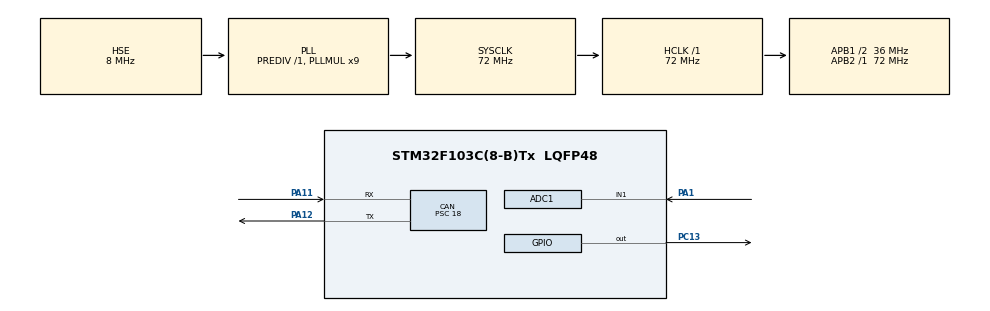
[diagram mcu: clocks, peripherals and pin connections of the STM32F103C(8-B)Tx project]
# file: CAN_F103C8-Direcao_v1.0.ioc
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ADC1.Channel-0\#ChannelRegularConversion=ADC_CHANNEL_1
ADC1.NbrOfConversionFlag=1
ADC1.Rank-0\#ChannelRegularConversion=1
ADC1.SamplingTime-0\#ChannelRegularConversion=ADC_SAMPLETIME_1CYCLE_5
ADC1.master=1
CAN.BS1=CAN_BS1_13TQ
CAN.BS2=CAN_BS2_2TQ
CAN.CalculateTimeBit=8000
CAN.CalculateTimeQuantum=500.0
CAN.NART=ENABLE
CAN.Prescaler=18
Mcu.Family=STM32F1
Mcu.Name=STM32F103C(8-B)Tx
Mcu.Package=LQFP48
NVIC.PriorityGroup=NVIC_PRIORITYGROUP_0
NVIC.USB_LP_CAN1_RX0_IRQn=true\:0\:2\:false\:false\:true\:true\:true\:true
PA1.Signal=ADCx_IN1
PA11.Mode=Master
PA11.Signal=CAN_RX
PA12.Mode=Master
PA12.Signal=CAN_TX
PA13.Mode=Serial_Wire
PA13.Signal=SYS_JTMS-SWDIO
PA14.Mode=Serial_Wire
PA14.Signal=SYS_JTCK-SWCLK
PC13-TAMPER-RTC.Signal=GPIO_Output
PD0-OSC_IN.Mode=HSE-External-Oscillator
PD0-OSC_IN.Signal=RCC_OSC_IN
PD1-OSC_OUT.Mode=HSE-External-Oscillator
PD1-OSC_OUT.Signal=RCC_OSC_OUT
ProjectManager.HeapSize=0x200
ProjectManager.StackSize=0x400
ProjectManager.TargetToolchain=STM32CubeIDE
RCC.ADCPresc=RCC_ADCPCLK2_DIV6
RCC.AHBFreq_Value=72000000
RCC.APB1CLKDivider=RCC_HCLK_DIV2
RCC.APB1Freq_Value=36000000
RCC.APB1TimFreq_Value=72000000
RCC.APB2Freq_Value=72000000
RCC.APB2TimFreq_Value=72000000
RCC.HCLKFreq_Value=72000000
RCC.PLLMUL=RCC_PLL_MUL9
RCC.PLLSourceVirtual=RCC_PLLSOURCE_HSE
RCC.SYSCLKFreq_VALUE=72000000
RCC.SYSCLKSource=RCC_SYSCLKSOURCE_PLLCLK
RCC.USBFreq_Value=72000000
SH.ADCx_IN1.0=ADC1_IN1,IN1
board=custom

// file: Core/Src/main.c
/* USER CODE BEGIN Header */
/**
  ******************************************************************************
  * @file           : main.c
  * @brief          : Main program body
  ******************************************************************************
  * @attention
  *
  * <h2><center>&copy; Copyright (c) 2020 STMicroelectronics.
  * All rights reserved.</center></h2>
  *
  * This software component is licensed by ST under BSD 3-Clause license,
  * the "License"; You may not use this file except in compliance with the
  * License. You may obtain a copy of the License at:
  *                        opensource.org/licenses/BSD-3-Clause
  *
  ******************************************************************************
  */
/* USER CODE END Header */

#include "main.h"

ADC_HandleTypeDef hadc1;

CAN_HandleTypeDef hcan;

/* USER CODE BEGIN PV */
CAN_TxHeaderTypeDef pTxHeader;
uint32_t pTxMailbox;
uint32_t adcResult;
uint8_t txData[8];
uint8_t rxData[8];
uint16_t adcRxData;
CAN_RxHeaderTypeDef pRxHeader;
CAN_FilterTypeDef sFilterConfig;
/* USER CODE END PV */

void SystemClock_Config(void);
static void MX_GPIO_Init(void);
static void MX_CAN_Init(void);
static void MX_ADC1_Init(void);

int main(void)
{

  /* MCU Configuration--------------------------------------------------------*/

  /* Reset of all peripherals, Initializes the Flash interface and the Systick. */
  HAL_Init();

  /* Configure the system clock */
  SystemClock_Config();

  /* Initialize all configured peripherals */
  MX_GPIO_Init();
  MX_CAN_Init();
  MX_ADC1_Init();

  /* Infinite loop */
  while (1)
  {

    /* USER CODE BEGIN 3 */
	  HAL_ADC_Start(&hadc1);
	  HAL_ADC_PollForConversion(&hadc1, 100);
	  adcResult = HAL_ADC_GetValue(&hadc1);
	  HAL_ADC_Stop(&hadc1);

	  if(HAL_CAN_GetTxMailboxesFreeLevel(&hcan) == 0)
	  {
		  HAL_CAN_AbortTxRequest(&hcan, pTxMailbox);
	  }
	  txData[0] = (uint8_t)(adcResult >> 8);
	  txData[1] = (uint8_t)(adcResult & 0xFF);
	  HAL_CAN_AddTxMessage(&hcan, &pTxHeader, txData, &pTxMailbox);
	  HAL_Delay(50);
  }
  /* USER CODE END 3 */
}

void SystemClock_Config(void)
{
  RCC_OscInitTypeDef RCC_OscInitStruct = {0};
  RCC_ClkInitTypeDef RCC_ClkInitStruct = {0};
  RCC_PeriphCLKInitTypeDef PeriphClkInit = {0};

  /** Initializes the CPU, AHB and APB busses clocks
  */
  RCC_OscInitStruct.OscillatorType = RCC_OSCILLATORTYPE_HSE;
  RCC_OscInitStruct.HSEState = RCC_HSE_ON;
  RCC_OscInitStruct.HSEPredivValue = RCC_HSE_PREDIV_DIV1;
  RCC_OscInitStruct.HSIState = RCC_HSI_ON;
  RCC_OscInitStruct.PLL.PLLState = RCC_PLL_ON;
  RCC_OscInitStruct.PLL.PLLSource = RCC_PLLSOURCE_HSE;
  RCC_OscInitStruct.PLL.PLLMUL = RCC_PLL_MUL9;
  if (HAL_RCC_OscConfig(&RCC_OscInitStruct) != HAL_OK)
  {
    Error_Handler();
  }
  /** Initializes the CPU, AHB and APB busses clocks
  */
  RCC_ClkInitStruct.ClockType = RCC_CLOCKTYPE_HCLK|RCC_CLOCKTYPE_SYSCLK
                              |RCC_CLOCKTYPE_PCLK1|RCC_CLOCKTYPE_PCLK2;
  RCC_ClkInitStruct.SYSCLKSource = RCC_SYSCLKSOURCE_PLLCLK;
  RCC_ClkInitStruct.AHBCLKDivider = RCC_SYSCLK_DIV1;
  RCC_ClkInitStruct.APB1CLKDivider = RCC_HCLK_DIV2;
  RCC_ClkInitStruct.APB2CLKDivider = RCC_HCLK_DIV1;

  if (HAL_RCC_ClockConfig(&RCC_ClkInitStruct, FLASH_LATENCY_2) != HAL_OK)
  {
    Error_Handler();
  }
  PeriphClkInit.PeriphClockSelection = RCC_PERIPHCLK_ADC;
  PeriphClkInit.AdcClockSelection = RCC_ADCPCLK2_DIV6;
  if (HAL_RCCEx_PeriphCLKConfig(&PeriphClkInit) != HAL_OK)
  {
    Error_Handler();
  }
}

static void MX_ADC1_Init(void)
{

  ADC_ChannelConfTypeDef sConfig = {0};

  /** Common config
  */
  hadc1.Instance = ADC1;
  hadc1.Init.ScanConvMode = ADC_SCAN_DISABLE;
  hadc1.Init.ContinuousConvMode = DISABLE;
  hadc1.Init.DiscontinuousConvMode = DISABLE;
  hadc1.Init.ExternalTrigConv = ADC_SOFTWARE_START;
  hadc1.Init.DataAlign = ADC_DATAALIGN_RIGHT;
  hadc1.Init.NbrOfConversion = 1;
  if (HAL_ADC_Init(&hadc1) != HAL_OK)
  {
    Error_Handler();
  }
  /** Configure Regular Channel
  */
  sConfig.Channel = ADC_CHANNEL_1;
  sConfig.Rank = ADC_REGULAR_RANK_1;
  sConfig.SamplingTime = ADC_SAMPLETIME_1CYCLE_5;
  if (HAL_ADC_ConfigChannel(&hadc1, &sConfig) != HAL_OK)
  {
    Error_Handler();
  }

}

static void MX_CAN_Init(void)
{

  hcan.Instance = CAN1;
  hcan.Init.Prescaler = 18;
  hcan.Init.Mode = CAN_MODE_NORMAL;
  hcan.Init.SyncJumpWidth = CAN_SJW_1TQ;
  hcan.Init.TimeSeg1 = CAN_BS1_13TQ;
  hcan.Init.TimeSeg2 = CAN_BS2_2TQ;
  hcan.Init.TimeTriggeredMode = DISABLE;
  hcan.Init.AutoBusOff = DISABLE;
  hcan.Init.AutoWakeUp = DISABLE;
  hcan.Init.AutoRetransmission = ENABLE;
  hcan.Init.ReceiveFifoLocked = DISABLE;
  hcan.Init.TransmitFifoPriority = DISABLE;
  if (HAL_CAN_Init(&hcan) != HAL_OK)
  {
    Error_Handler();
  }
  /* USER CODE BEGIN CAN_Init 2 */

	pTxHeader.DLC = 2;
	pTxHeader.IDE = CAN_ID_STD;
	pTxHeader.RTR = CAN_RTR_DATA;
	pTxHeader.StdId = 0x244;

	sFilterConfig.FilterFIFOAssignment = CAN_FILTER_FIFO0;
	sFilterConfig.FilterIdHigh = 0x245 << 5;
	sFilterConfig.FilterIdLow = 0;
	sFilterConfig.FilterMaskIdHigh = 0;
	sFilterConfig.FilterMaskIdLow =0;
	sFilterConfig.FilterScale = CAN_FILTERSCALE_32BIT;
	sFilterConfig.FilterActivation = ENABLE;

	HAL_CAN_ConfigFilter(&hcan, &sFilterConfig);

	if (HAL_CAN_Start(&hcan) != HAL_OK)
	{
		/* Start Error */
		Error_Handler();
	}
	HAL_CAN_ActivateNotification(&hcan,CAN_IT_RX_FIFO0_MSG_PENDING);

  /* USER CODE END CAN_Init 2 */

}

static void MX_GPIO_Init(void)
{
  GPIO_InitTypeDef GPIO_InitStruct = {0};

  /* GPIO Ports Clock Enable */
  __HAL_RCC_GPIOC_CLK_ENABLE();
  __HAL_RCC_GPIOD_CLK_ENABLE();
  __HAL_RCC_GPIOA_CLK_ENABLE();

  /*Configure GPIO pin Output Level */
  HAL_GPIO_WritePin(GPIOC, GPIO_PIN_13, GPIO_PIN_RESET);

  /*Configure GPIO pin : PC13 */
  GPIO_InitStruct.Pin = GPIO_PIN_13;
  GPIO_InitStruct.Mode = GPIO_MODE_OUTPUT_PP;
  GPIO_InitStruct.Pull = GPIO_NOPULL;
  GPIO_InitStruct.Speed = GPIO_SPEED_FREQ_LOW;
  HAL_GPIO_Init(GPIOC, &GPIO_InitStruct);

}

/* USER CODE BEGIN 4 */
void HAL_CAN_RxFifo0MsgPendingCallback(CAN_HandleTypeDef *hcan)
{
	  HAL_CAN_GetRxMessage(hcan, CAN_RX_FIFO0, &pRxHeader, rxData);
	  adcRxData = (rxData[0] << 8) | rxData[1];
	  HAL_GPIO_TogglePin(GPIOC, GPIO_PIN_13);
}

void HAL_CAN_RxFifo1MsgPendingCallback(CAN_HandleTypeDef *hcan)
{
	  HAL_CAN_GetRxMessage(hcan, CAN_RX_FIFO0, &pRxHeader, rxData);
}
/* USER CODE END 4 */

void Error_Handler(void)
{
  /* USER CODE BEGIN Error_Handler_Debug */
  /* User can add his own implementation to report the HAL error return state */
	while(1)
	{
		//HAL_GPIO_TogglePin(GPIOC, GPIO_PIN_13);
		HAL_Delay(1000);
	}
  /* USER CODE END Error_Handler_Debug */
}

/************************ (C) COPYRIGHT STMicroelectronics *****END OF FILE****/
